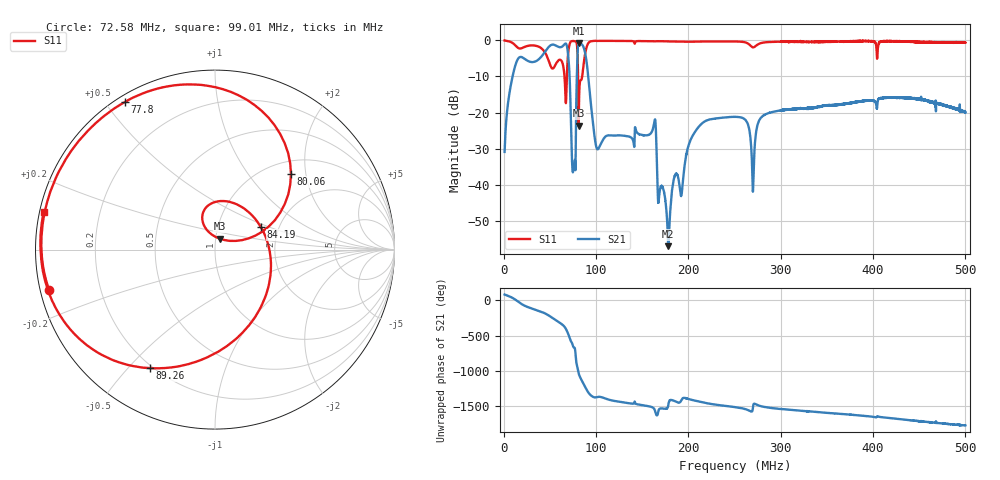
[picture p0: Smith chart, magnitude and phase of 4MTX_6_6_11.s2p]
! NanoVNA-App
! Date: 2026-08-18 22:15:11
! Start: 1MHz Stop: 500MHz Points: 6401
! S-Parameter data: F S11 S21 S12 S22
# Hz S RI R 50
!  Frequency  S11_Real  S11_Imag  S21_Real  S21_Imag  S12_Real  S12_Imag  S22_Real  S22_Imag
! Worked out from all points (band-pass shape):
!   6401 points, 1 MHz to 500 MHz, reference 50 ohm
!   highest |S21| = -0.82 dB at 81.31 MHz (marker M1); lowest = -56.8 dB at 178.3 MHz (marker M2)
!   |S21| within 3 dB of the highest: 43.04 MHz to 69.68 MHz (26.64 MHz wide, 47.3 % of centre); 79.99 MHz to 88.43 MHz (8.438 MHz wide, 10 % of centre)
!   lowest |S11| = -23.6 dB at 81.15 MHz (marker M3), VSWR 1.14, Z = 52.3 + j6.39 ohm
!   |S11| at or under -10 dB: 65.83 MHz to 68.42 MHz (2.596 MHz wide, 3.87 % of centre); 80.54 MHz to 85 MHz (4.453 MHz wide, 5.38 % of centre)
!   S12 and S22 are empty: the file has one direction only
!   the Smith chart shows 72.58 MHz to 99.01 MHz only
!   S11 on the Smith chart (normalised r, x): 72.58 MHz: 0.03, -0.12; 77.8 MHz: 0.02, +0.56; 80.06 MHz: 1.26, +1.65; 84.19 MHz: 1.61, +0.44; 89.26 MHz: 0.19, -0.58; 99.01 MHz: 0.01, +0.11
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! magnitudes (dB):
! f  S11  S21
! 1 MHz  -0.1  -30.8
! 14.72 MHz  -2.0  -5.5
! 51.68 MHz  -7.6  -1.3
! 67.9 MHz  -14.3  -1.2
! 72.58 MHz  -0.4  -20.0
! 75.54 MHz  -0.2  -35.6
! 77.8 MHz  -0.3  -34.8
! 80.06 MHz  -4.5  -3.4
! 81.15 MHz  -23.6  -0.8
! 81.31 MHz  -21.5  -0.8
! 84.19 MHz  -10.9  -1.1
! 89.26 MHz  -2.5  -5.1
! 99.01 MHz  -0.2  -27.7
! 162.6 MHz  -0.3  -23.5
! 167.4 MHz  -0.3  -44.6
! 178.3 MHz  -0.3  -56.8
! 206.3 MHz  -0.4  -25.7
! 250.5 MHz  -0.4  -21.2
! 269.9 MHz  -2.0  -41.8
! 333.7 MHz  -0.5  -18.7
! 416.9 MHz  -0.3  -15.9
! 500 MHz  -0.7  -20.0
